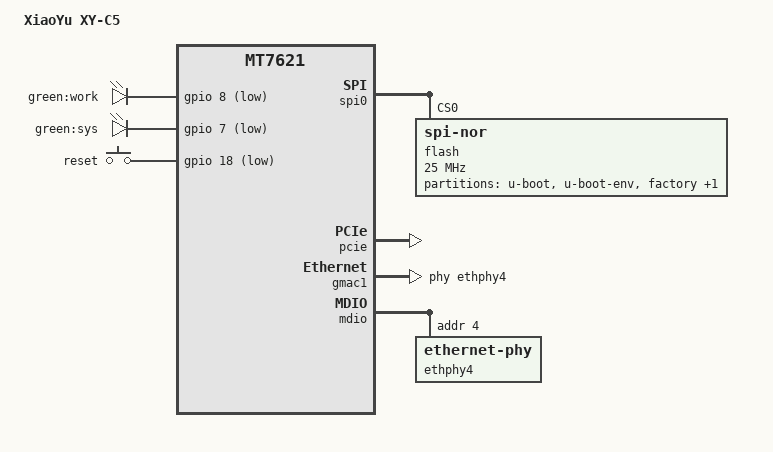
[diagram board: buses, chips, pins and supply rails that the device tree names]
#include "mt7621.dtsi"

#include <dt-bindings/gpio/gpio.h>
#include <dt-bindings/input/input.h>

/ {
	compatible = "xiaoyu,xy-c5", "mediatek,mt7621-soc";
	model = "XiaoYu XY-C5";

	aliases {
		led-boot = &led_sys;
		led-failsafe = &led_sys;
		led-running = &led_sys;
		led-upgrade = &led_sys;
		label-mac-device = &gmac0;
	};

	leds {
		compatible = "gpio-leds";

		work {
			label = "green:work";
			gpios = <&gpio 8 GPIO_ACTIVE_LOW>;
		};

		led_sys: sys {
			label = "green:sys";
			gpios = <&gpio 7 GPIO_ACTIVE_LOW>;
		};
	};

	keys {
		compatible = "gpio-keys";

		reset {
			label = "reset";
			gpios = <&gpio 18 GPIO_ACTIVE_LOW>;
			linux,code = <KEY_RESTART>;
		};
	};
};

&spi0 {
	status = "okay";

	flash@0 {
		compatible = "jedec,spi-nor";
		reg = <0>;
		spi-max-frequency = <25000000>;
		broken-flash-reset;

		partitions {
			compatible = "fixed-partitions";
			#address-cells = <1>;
			#size-cells = <1>;

			partition@0 {
				label = "u-boot";
				reg = <0x0 0x30000>;
				read-only;
			};

			partition@30000 {
				label = "u-boot-env";
				reg = <0x30000 0x10000>;
				read-only;
			};

			factory: partition@40000 {
				label = "factory";
				reg = <0x40000 0x10000>;
				read-only;
			};

			partition@50000 {
				compatible = "denx,uimage";
				label = "firmware";
				reg = <0x50000 0x1fb0000>;
			};
		};
	};
};

&pcie {
	status = "okay";
};

&gmac0 {
	nvmem-cells = <&macaddr_factory_4>;
	nvmem-cell-names = "mac-address";
};

&gmac1 {
	status = "okay";
	label = "wan";
	phy-handle = <&ethphy4>;

	nvmem-cells = <&macaddr_factory_4>;
	nvmem-cell-names = "mac-address";
	mac-address-increment = <1>;
};

&mdio {
	ethphy4: ethernet-phy@4 {
		reg = <4>;
	};
};

&switch0 {
	ports {
		port@0 {
			status = "okay";
			label = "lan1";
		};

		port@1 {
			status = "okay";
			label = "lan2";
		};

		port@2 {
			status = "okay";
			label = "lan3";
		};

		port@3 {
			status = "okay";
			label = "lan4";
		};
	};
};

&state_default {
	gpio {
		groups = "uart3", "wdt";
		function = "gpio";
	};
};

&factory {
	compatible = "nvmem-cells";
	#address-cells = <1>;
	#size-cells = <1>;

	macaddr_factory_4: macaddr@4 {
		reg = <0x4 0x6>;
	};
};
